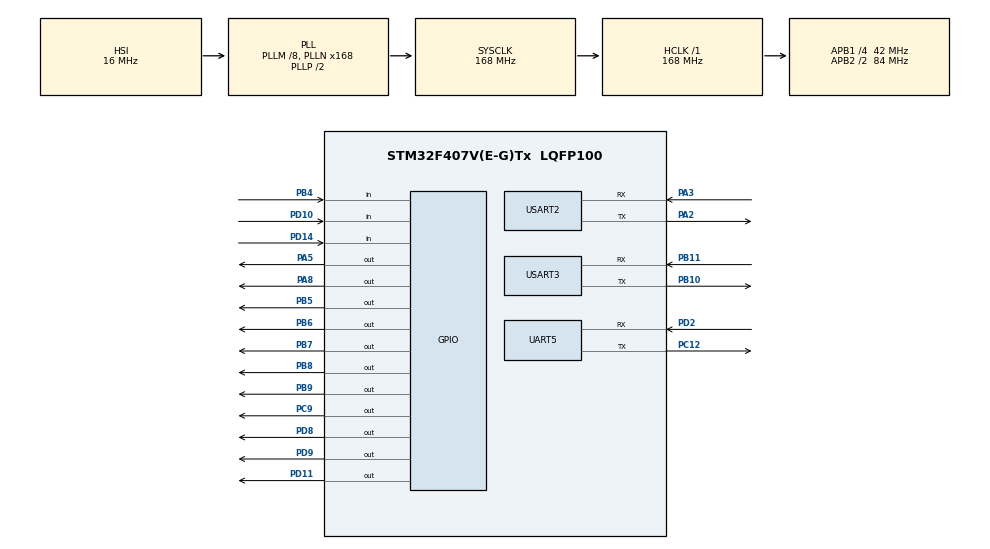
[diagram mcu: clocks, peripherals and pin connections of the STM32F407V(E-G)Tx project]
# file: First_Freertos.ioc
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FREERTOS.Tasks01=defaultTask,24,128,StartDefaultTask,Default,NULL,Dynamic,NULL,NULL
FREERTOS.configENABLE_FPU=1
Mcu.Family=STM32F4
Mcu.Name=STM32F407V(E-G)Tx
Mcu.Package=LQFP100
NVIC.PriorityGroup=NVIC_PRIORITYGROUP_4
NVIC.TIM2_IRQn=true\:5\:0\:false\:false\:true\:true\:true\:true\:true
NVIC.TIM6_DAC_IRQn=true\:15\:0\:false\:false\:true\:false\:false\:true\:true
NVIC.TimeBase=TIM6_DAC_IRQn
NVIC.TimeBaseIP=TIM6
NVIC.UART5_IRQn=true\:5\:0\:false\:false\:true\:true\:true\:true\:true
NVIC.USART2_IRQn=true\:5\:0\:false\:false\:true\:true\:true\:true\:true
NVIC.USART3_IRQn=true\:5\:0\:false\:false\:true\:true\:true\:true\:true
PA13.Mode=Serial_Wire
PA13.Signal=SYS_JTMS-SWDIO
PA14.Mode=Serial_Wire
PA14.Signal=SYS_JTCK-SWCLK
PA2.Mode=Asynchronous
PA2.Signal=USART2_TX
PA3.Mode=Asynchronous
PA3.Signal=USART2_RX
PA5.Signal=GPIO_Output
PA8.Signal=GPIO_Output
PB10.Mode=Asynchronous
PB10.Signal=USART3_TX
PB11.Mode=Asynchronous
PB11.Signal=USART3_RX
PB4.Signal=GPIO_Input
PB5.Signal=GPIO_Output
PB6.Signal=GPIO_Output
PB7.Signal=GPIO_Output
PB8.GPIO_ModeDefaultOutputPP=GPIO_MODE_OUTPUT_OD
PB8.GPIO_PuPd=GPIO_NOPULL
PB8.Signal=GPIO_Output
PB9.Signal=GPIO_Output
PC12.Mode=Asynchronous
PC12.Signal=UART5_TX
PC14-OSC32_IN.Mode=LSE-External-Oscillator
PC14-OSC32_IN.Signal=RCC_OSC32_IN
PC15-OSC32_OUT.Mode=LSE-External-Oscillator
PC15-OSC32_OUT.Signal=RCC_OSC32_OUT
PC9.Signal=GPIO_Output
PD10.Signal=GPIO_Input
PD11.Signal=GPIO_Output
PD14.Signal=GPIO_Input
PD2.Mode=Asynchronous
PD2.Signal=UART5_RX
PD8.Signal=GPIO_Output
PD9.Signal=GPIO_Output
PH0-OSC_IN.Mode=HSE-External-Oscillator
PH0-OSC_IN.Signal=RCC_OSC_IN
PH1-OSC_OUT.Mode=HSE-External-Oscillator
PH1-OSC_OUT.Signal=RCC_OSC_OUT
ProjectManager.HeapSize=0x000
ProjectManager.StackSize=0x800
ProjectManager.TargetToolchain=MDK-ARM V5.32
RCC.48MHZClocksFreq_Value=84000000
RCC.AHBFreq_Value=168000000
RCC.APB1CLKDivider=RCC_HCLK_DIV4
RCC.APB1Freq_Value=42000000
RCC.APB1TimFreq_Value=84000000
RCC.APB2CLKDivider=RCC_HCLK_DIV2
RCC.APB2Freq_Value=84000000
RCC.APB2TimFreq_Value=168000000
RCC.CortexFreq_Value=168000000
RCC.HCLKFreq_Value=168000000
RCC.HSE_VALUE=25000000
RCC.HSI_VALUE=16000000
RCC.PLLM=8
RCC.PLLN=168
RCC.SYSCLKFreq_VALUE=168000000
RCC.SYSCLKSource=RCC_SYSCLKSOURCE_PLLCLK
RCC.VCOOutputFreq_Value=336000000
TIM2.Period=1000
TIM2.Prescaler=83
UART5.VirtualMode=Asynchronous
USART2.VirtualMode=VM_ASYNC
USART3.VirtualMode=VM_ASYNC
VP_FREERTOS_VS_CMSIS_V2.Mode=CMSIS_V2
VP_SYS_VS_tim6.Mode=TIM6
VP_TIM2_VS_ClockSourceINT.Mode=Internal
board=custom

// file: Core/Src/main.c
/* USER CODE BEGIN Header */
/**
  ******************************************************************************
  * @file           : main.c
  * @brief          : Main program body
  ******************************************************************************
  * @attention
  *
  * Copyright (c) 2026 STMicroelectronics.
  * All rights reserved.
  *
  * This software is licensed under terms that can be found in the LICENSE file
  * in the root directory of this software component.
  * If no LICENSE file comes with this software, it is provided AS-IS.
  *
  ******************************************************************************
  */
/* USER CODE END Header */
#include "main.h"
#include "cmsis_os.h"
#include "tim.h"
#include "usart.h"
#include "gpio.h"

/* USER CODE BEGIN Includes */
#include "stdio.h"
#include "esp8266.h"
#include "onenet.h"
#include <stdlib.h>
#include "OLED.h"
#include "MY_IIC.h"
#include "BMP280.h"
#include "ath20.h"
#include "math.h"
#include "draw.h"
#include "resources.h"
#include "queue.h"
/* USER CODE END Includes */

/* USER CODE BEGIN PTD */
unsigned int count=0;
/* USER CODE END PTD */

void SystemClock_Config(void);
void MX_FREERTOS_Init(void);
/* USER CODE BEGIN PFP */

unsigned int	Error_Count=0;
unsigned char p3Data,p5Data,p2Data;
unsigned int miao;
extern const char devPubTopic[] ;
extern const char *devSubTopic[];
extern unsigned char *dataPtr;
extern QueueHandle_t miao_Duilie;
extern QueueHandle_t ESP8266_Duilie;
extern QueueHandle_t xGyroQueue;
/* USER CODE END PFP */

/* USER CODE BEGIN 0 */

volatile uint8_t ret = 0;
/* USER CODE END 0 */

int main(void)
{

  /* MCU Configuration--------------------------------------------------------*/

  /* Reset of all peripherals, Initializes the Flash interface and the Systick. */
  HAL_Init();

  /* Configure the system clock */
  SystemClock_Config();

  /* Initialize all configured peripherals */
  MX_GPIO_Init();
  MX_TIM2_Init();
  MX_USART3_UART_Init();
  MX_UART5_Init();
  MX_USART2_UART_Init();
  /* USER CODE BEGIN 2 */
	OLED_Init();
	xGyroQueue = xQueueCreate(2, sizeof(GyroRawData_t));
	miao_Duilie=xQueueCreate(1, sizeof(struct miao_Duilie_Struct)); //创建队列
	ESP8266_Duilie=xQueueCreate(1, sizeof(struct Chuan_Struct)); //创建队列

	HAL_TIM_Base_Start_IT(&htim2);
	HAL_UART_Receive_IT(&huart3, &p3Data, 1);
	HAL_UART_Receive_IT(&huart5, &p5Data, 1);
	HAL_UART_Receive_IT(&huart2, &p2Data, 1);

  /* USER CODE END 2 */

  /* Init scheduler */
  osKernelInitialize();

  /* Call init function for freertos objects (in cmsis_os2.c) */
  MX_FREERTOS_Init();

  /* Start scheduler */
  osKernelStart();

  /* We should never get here as control is now taken by the scheduler */

  /* Infinite loop */
  while (1)
  {

  }
}

void SystemClock_Config(void)
{
  RCC_OscInitTypeDef RCC_OscInitStruct = {0};
  RCC_ClkInitTypeDef RCC_ClkInitStruct = {0};

  /** Configure the main internal regulator output voltage
  */
  __HAL_RCC_PWR_CLK_ENABLE();
  __HAL_PWR_VOLTAGESCALING_CONFIG(PWR_REGULATOR_VOLTAGE_SCALE1);

  /** Initializes the RCC Oscillators according to the specified parameters
  * in the RCC_OscInitTypeDef structure.
  */
  RCC_OscInitStruct.OscillatorType = RCC_OSCILLATORTYPE_HSI;
  RCC_OscInitStruct.HSIState = RCC_HSI_ON;
  RCC_OscInitStruct.HSICalibrationValue = RCC_HSICALIBRATION_DEFAULT;
  RCC_OscInitStruct.PLL.PLLState = RCC_PLL_ON;
  RCC_OscInitStruct.PLL.PLLSource = RCC_PLLSOURCE_HSI;
  RCC_OscInitStruct.PLL.PLLM = 8;
  RCC_OscInitStruct.PLL.PLLN = 168;
  RCC_OscInitStruct.PLL.PLLP = RCC_PLLP_DIV2;
  RCC_OscInitStruct.PLL.PLLQ = 4;
  if (HAL_RCC_OscConfig(&RCC_OscInitStruct) != HAL_OK)
  {
    Error_Handler();
  }

  /** Initializes the CPU, AHB and APB buses clocks
  */
  RCC_ClkInitStruct.ClockType = RCC_CLOCKTYPE_HCLK|RCC_CLOCKTYPE_SYSCLK
                              |RCC_CLOCKTYPE_PCLK1|RCC_CLOCKTYPE_PCLK2;
  RCC_ClkInitStruct.SYSCLKSource = RCC_SYSCLKSOURCE_PLLCLK;
  RCC_ClkInitStruct.AHBCLKDivider = RCC_SYSCLK_DIV1;
  RCC_ClkInitStruct.APB1CLKDivider = RCC_HCLK_DIV4;
  RCC_ClkInitStruct.APB2CLKDivider = RCC_HCLK_DIV2;

  if (HAL_RCC_ClockConfig(&RCC_ClkInitStruct, FLASH_LATENCY_5) != HAL_OK)
  {
    Error_Handler();
  }
}

void HAL_TIM_PeriodElapsedCallback(TIM_HandleTypeDef *htim)
{
  if (htim->Instance == TIM6)
  {
    HAL_IncTick();
  }
  /* USER CODE BEGIN Callback 1 */
  if (htim == (&htim2))  //1KHZ
  {
		struct miao_Duilie_Struct miaostru;

		count++;
		if(count%1000==0){
		miao++;
		miaostru.num=	miao;
			xQueueSendFromISR(miao_Duilie,&miaostru,0); //写队列 miao_Duilie是唯一标识符 中断中不等待
		}

	}
  /* USER CODE END Callback 1 */
}

void Error_Handler(void)
{
  __disable_irq();
  while (1)
  {
  }
}

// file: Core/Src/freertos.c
/* USER CODE BEGIN Header */
/**
  ******************************************************************************
  * File Name          : freertos.c
  * Description        : Code for freertos applications
  ******************************************************************************
  * @attention
  *
  * Copyright (c) 2026 STMicroelectronics.
  * All rights reserved.
  *
  * This software is licensed under terms that can be found in the LICENSE file
  * in the root directory of this software component.
  * If no LICENSE file comes with this software, it is provided AS-IS.
  *
  ******************************************************************************
  */
/* USER CODE END Header */

#include "FreeRTOS.h"
#include "task.h"
#include "main.h"
#include "cmsis_os.h"

/* USER CODE BEGIN Includes */
#include "stdio.h"
#include "esp8266.h"
#include "onenet.h"
#include <stdlib.h>
#include "OLED.h"
#include "MY_IIC.h"
#include "BMP280.h"
#include "ath20.h"
#include "math.h"
#include "draw.h"
#include "game1.h"
#include "resources.h"
#include "queue.h"
#include "string.h"
#include "NRF24L01.h"
/* USER CODE END Includes */

/* USER CODE BEGIN PTD */

float PT, T, ALT;
uint32_t CT_data[2];
int c1, t1;
uint8_t status = 0;
/* USER CODE END PTD */

/* USER CODE BEGIN PD */
const char devPubTopic[] = "$sys/nE4HArK3N3/Pena/thing/property/post";
const char *devSubTopic[] = {"$sys/nE4HArK3N3/Pena/thing/property/set"};
unsigned char *dataPtr = NULL;
char PUBLIS_BUF[256];
extern unsigned int miao,count;
TaskHandle_t  OLED_Task_Handle;
unsigned int OLED_RUN_Flag=1;

extern unsigned int WiFi_Success_Flag;
float PT, T, ALT;
uint32_t CT_data[2];
int c1, t1;

unsigned int ADzhi11,My_ADzhi11,Last_ADzhi11;
unsigned int ADzhi12,My_ADzhi12,Last_ADzhi12;
unsigned int ADzhi21,My_ADzhi21,Last_ADzhi21;
unsigned int ADzhi22,My_ADzhi22,Last_ADzhi22;
unsigned char anjianzhi[6];
unsigned int NRF24L01_Send_Error[5];

extern uint8_t uptMove;
//extern uint8_t again;

volatile float Roll = 0.0f, Pitch = 0.0f, Yaw = 0.0f;
volatile float First_Yaw = 0.0f, Last_Yaw = 0.0f, Yaw_offset = 0.0f, My_Yaw = 0.0f;
volatile int Quan_Shu = 0;
volatile uint8_t First_Yaw_flag = 0;

QueueHandle_t miao_Duilie;
QueueHandle_t ESP8266_Duilie;
QueueHandle_t xGyroQueue;
/* USER CODE END PD */

/* Definitions for defaultTask */
osThreadId_t defaultTaskHandle;
const osThreadAttr_t defaultTask_attributes = {
  .name = "defaultTask",
  .stack_size = 128 * 4,
  .priority = (osPriority_t) osPriorityNormal,
};

/* USER CODE BEGIN FunctionPrototypes */
void JsonValue()
{
	struct Chuan_Struct Data_Struct;

//	uint8_t Temp = c1;
//	uint8_t Hum_D = t1/10;
//	uint8_t Hum_X = t1%10;
//	float Hum=Hum_D+((float)Hum_X/10);
////	uint8_t Hum = t1/10;
//	float qiya=PT;
//	uint8_t shidu=c1/10;
	if(xQueueReceive(ESP8266_Duilie,&Data_Struct,pdMS_TO_TICKS(1))==pdPASS){

	uint8_t Temp = Data_Struct.C1;
	uint8_t Hum_D = Data_Struct.T1/10;
	uint8_t Hum_X = Data_Struct.T1%10;
	float Hum=Hum_D+((float)Hum_X/10);
		if(Hum<=40&&Hum>=0){
//	uint8_t Hum = t1/10;
	float qiya=Data_Struct.PT1;
	uint8_t shidu=Data_Struct.C1/10;
	memset(PUBLIS_BUF, 0, sizeof(PUBLIS_BUF));

	sprintf(PUBLIS_BUF,"{\"id\":\"123\",\"params\":{\"temp_float\":{\"value\":%.1f},\"Qiya\":{\"value\":%.1f},\"ShiDu\":{\"value\":%d}}}",
					Hum,qiya,shidu);
		}
	}
}
char anjianhq(){
	char anjianzhi=0;
	if(HAL_GPIO_ReadPin(GPIOD,GPIO_PIN_10)==0){
	anjianzhi=1;
	}
	if(HAL_GPIO_ReadPin(GPIOD,GPIO_PIN_14)==0){
	anjianzhi=2;
	}
	return anjianzhi;
}
void LED_2Task(){
  while(1){
		OLED_ShowNum(3,1,count%10,2);
//		vTaskDelay(pdMS_TO_TICKS(500));	 // �ȴ�100ms
  }
}
void ESP8266_Task(){

	static unsigned int TimeCount,Error_Count;
	 static uint32_t tick_count = 0;
  static uint32_t last_send_tick = 0; // 记录上次发送的时间点
//	ESP8266_Duilie=xQueueCreate(1, sizeof(struct Chuan_Struct)); //创建队列
		ESP8266_Init();
	if(WiFi_Success_Flag==1){
			while(OneNet_DevLink())//连接Onenet平台,如果失败等待200ms继续尝试。
		{
			HAL_Delay(200);
			Error_Count++;
			if(Error_Count>=5){
				printf("连接失败\r\n");
				break;
//			return 0;
			}
		}
	}
	else{
				printf("连接失败\r\n");
	}
			/*订阅主题*/
	OneNet_Subscribe(devSubTopic,1);
//	OLED_ShowString(3,1,"ESP8266_OK");
  while(1){

				HAL_GPIO_TogglePin(GPIOD,GPIO_PIN_11);
        dataPtr = ESP8266_GetIPD_RTOS(1);
        if(dataPtr != NULL)
        {
            OneNet_RevPro(dataPtr); // 处理数据
            ESP8266_Clear();        // 处理完立刻清空
        }
        if((xTaskGetTickCount() - last_send_tick) >= pdMS_TO_TICKS(500))
        {
            last_send_tick = xTaskGetTickCount(); // 更新时间戳4

//						JH_Read_CTdata(CT_data);         //较慢
//						c1 = CT_data[0] * 1000 / 1024 / 1024;
//						t1 = CT_data[1] * 200 * 10 / 1024 / 1024 - 500;
//						BMP280GetData(&PT, &T, &ALT);

            JsonValue();
            OneNet_Publish(devPubTopic, PUBLIS_BUF);
        }
					vTaskDelay(pdMS_TO_TICKS(5));	 //
  }
}

struct OLED_Show_Param OLED_Test1={1,1,0};
struct OLED_Show_Param OLED_Test2={2,1,0};
struct OLED_Show_Param OLED_Test3={3,1,0};
unsigned int Bao_Hu=1;
void OLED_Task(void *param){
	struct OLED_Show_Param *info=param;
	struct miao_Duilie_Struct miao_Struct; //存数据的结构体

	BaseType_t preTime;
	preTime=xTaskGetTickCount();

//  miao_Duilie=xQueueCreate(1, sizeof(struct miao_Duilie_Struct)); //创建队列

	while(1){
		if(Bao_Hu==1){
		Bao_Hu=0;
		OLED_ShowNum(info->hang,info->lie,info->num,5);
		(info->num)++;
		Bao_Hu=1;
		}
		if(xQueueReceive(miao_Duilie,&miao_Struct,portMAX_DELAY)==pdPASS){ //判断是否接收到数据
		OLED_ShowNum(4,1,miao_Struct.num,4); //引用队列，用miao_Struct接收 miao_Duilie属于标识符
		}
		vTaskDelayUntil(&preTime,pdMS_TO_TICKS(1000));
//		vTaskDelay(pdMS_TO_TICKS(1000));
	}
}
unsigned int A=0;
static unsigned char val,down,old;
void anjian_Task(){

	while(1){
	val=anjianhq();
	down=val&(val^old);
	old=val;
	if(down==1){
	A++;
		uptMove=2;
	}
	if(down==2){
		uptMove=1;
	A--;
	}
	vTaskDelay(pdMS_TO_TICKS(10));
	}
}

void IIC_Task(){
	static uint8_t ret;
	struct Chuan_Struct idata;

	  I2C_Bus_Init();
  ret = BMP280_Init();
  if (ret != 0x58)
  {
    while (1)
      ;
  }
  ret = JH_Init(); //
  if (ret == 0)
  {
    while (1)
      ;
  }
	while(1){
		JH_Read_CTdata(CT_data);         //较慢
		c1 = CT_data[0] * 1000 / 1024 / 1024;
		t1 = CT_data[1] * 200 * 10 / 1024 / 1024 - 500;
		BMP280GetData(&PT, &T, &ALT);

		idata.C1=c1;
		idata.PT1=PT;
		idata.T1=t1;
		xQueueOverwrite(ESP8266_Duilie,&idata); // 无需等待，直接覆盖旧数据
	//	xQueueSend(ESP8266_Duilie,&idata,20); //有延迟 等待读取后再写
		vTaskDelay(pdMS_TO_TICKS(5));
	}
}
void NRF_Task(){
	 NRF24L01_Init();
	static unsigned int count=0;
	while(1){
		if(++count==50){
			count=0;
      NRF24L01_TxPacket[0] = t1;
      NRF24L01_TxPacket[1]++;
      NRF24L01_TxPacket[2]++;
      NRF24L01_TxPacket[3]++;
//			NRF24L01_Send();
			switch(NRF24L01_Send()){
				case 0:
					NRF24L01_Send_Error[0]++;
				break;
				case 1:
					NRF24L01_Send_Error[1]++;
				break;
				case 2:
					NRF24L01_Send_Error[2]++;
				break;
				case 3:
					NRF24L01_Send_Error[3]++;
				break;
				case 4:
					NRF24L01_Send_Error[4]++;
				break;
			}
		}
		    if (NRF24L01_Receive() == 1)
    {
			if((NRF24L01_RxPacket[0] * 256 + NRF24L01_RxPacket[1])>0&&(NRF24L01_RxPacket[0] * 256 + NRF24L01_RxPacket[1])<=5000&&(NRF24L01_RxPacket[0] * 256 + NRF24L01_RxPacket[1])!=2056){

			ADzhi11 = NRF24L01_RxPacket[0] * 256 + NRF24L01_RxPacket[1];
			}
			if((NRF24L01_RxPacket[2] * 256 + NRF24L01_RxPacket[3])>0&&(NRF24L01_RxPacket[2] * 256 + NRF24L01_RxPacket[3])<=5000&&(NRF24L01_RxPacket[2] * 256 + NRF24L01_RxPacket[3])!=2056){
			ADzhi12 = NRF24L01_RxPacket[2] * 256 + NRF24L01_RxPacket[3];
			}
			if((NRF24L01_RxPacket[4] * 256 + NRF24L01_RxPacket[5])>0&&(NRF24L01_RxPacket[4] * 256 + NRF24L01_RxPacket[5])<=5000&&(NRF24L01_RxPacket[4] * 256 + NRF24L01_RxPacket[5])!=2056){
			ADzhi22 = NRF24L01_RxPacket[4] * 256 + NRF24L01_RxPacket[5];
			}
			if((NRF24L01_RxPacket[6] * 256 + NRF24L01_RxPacket[7])>0&&(NRF24L01_RxPacket[6] * 256 + NRF24L01_RxPacket[7])<=5000&&(NRF24L01_RxPacket[6] * 256 + NRF24L01_RxPacket[7])!=2056){
			ADzhi21 = NRF24L01_RxPacket[6] * 256 + NRF24L01_RxPacket[7];
			}
			My_ADzhi12=0.4*ADzhi12+0.6*Last_ADzhi12;
			Last_ADzhi12=My_ADzhi12;

			My_ADzhi21=0.4*ADzhi21+0.6*Last_ADzhi21;
			Last_ADzhi21=My_ADzhi21;

      anjianzhi[0] = (NRF24L01_RxPacket[8] >> 6) & 0x01;
      anjianzhi[1] = (NRF24L01_RxPacket[8] >> 5) & 0x01;
      anjianzhi[2] = (NRF24L01_RxPacket[8] >> 4) & 0x01;
      anjianzhi[3] = (NRF24L01_RxPacket[8] >> 3) & 0x01;
			if(anjianzhi[0]==1){
//			again=1;
			}
			if(anjianzhi[2]==1){
			uptMove=2;
			}
			else if(anjianzhi[3]==1){
			uptMove=1;
			}
      anjianzhi[4] = (NRF24L01_RxPacket[8] >> 1) & 0x03;
      anjianzhi[5] = (NRF24L01_RxPacket[8]) & 0x01;
    }
		vTaskDelay(pdMS_TO_TICKS(10));
	}
}
void TuoLuoYi_Task(){
	GyroRawData_t recv_data;  // 任务内缓存，接收队列数据
//	xGyroQueue = xQueueCreate(2, sizeof(GyroRawData_t));
    for (;;) {
        // -------------------------- 核心：任务中接收队列数据 --------------------------
        // xQueueReceive：阻塞式接收，队列无数据时任务休眠，不占用CPU
        // 第三个参数：阻塞超时时间（pdMS_TO_TICKS(100) = 100ms）
        if (xQueueReceive(xGyroQueue, &recv_data, pdMS_TO_TICKS(100)) == pdPASS) {

            // 你的原有姿态角计算逻辑（改用任务内的recv_data，无并发风险）
            Roll = (float)((int16_t)recv_data.data[1] << 8 | recv_data.data[0]) / 32768 * 180;
            Pitch = (float)((int16_t)recv_data.data[3] << 8 | recv_data.data[2]) / 32768 * 180;

            // Yaw范围校验
            float temp_yaw = (float)((int16_t)recv_data.data[5] << 8 | recv_data.data[4]) / 32768 * 180;
            if (temp_yaw >= 0 && temp_yaw <= 360) {
                Yaw = temp_yaw;
            }

            // 累计Yaw计算
            if (First_Yaw_flag == 0) {
                First_Yaw = Yaw;
                First_Yaw_flag = 1;
            }
            float Delta_Yaw = Yaw - Last_Yaw;
            if (Delta_Yaw > 180.0f) {
                Yaw_offset -= 360.0f;
                Quan_Shu--;
            } else if (Delta_Yaw < -180.0f) {
                Yaw_offset += 360.0f;
                Quan_Shu++;
            }
            My_Yaw = Yaw + Yaw_offset;
            Last_Yaw = Yaw;

            // 调试输出（按需保留）
            // printf("%f,%f,%f\r\n", My_Yaw, Roll, Pitch);
        }
        // 任务让出CPU（短延时，避免任务空转）
        vTaskDelay(pdMS_TO_TICKS(10));
    }
}

void vApplicationStackOverflowHook(TaskHandle_t xTask, char *pcTaskName) //狗子函数
{
//    OLED_Clear();
    // 判断任务名，显示不同数字
    if(strcmp(pcTaskName, "ESP8266_Task") == 0){
				OLED_ShowString(2,5,"ESP8266_Error!!!");
//        OLED_ShowNum(2,1,55,2); // ESP8266_Task溢出显示55
    }else if(strcmp(pcTaskName, "IIC_Task") == 0){
			OLED_ShowString(2,5,"IIC_Error!!!");
//        OLED_ShowNum(2,1,66,2); // IIC_Task溢出显示66
    }else if(strcmp(pcTaskName, "LED_1Task") == 0){
			OLED_ShowString(2,5,"OLED_Error!!!");
//				OLED_ShowNum(2,1,77,2); // OLED_Task溢出显示77
		}else if(strcmp(pcTaskName, "anjian_Task") == 0){
			OLED_ShowString(2,5,"Button_Error!!!");
//				OLED_ShowNum(2,1,88,2); // anjian_Task溢出显示
		}else{
			OLED_ShowString(2,5,"_Error!!!");
//        OLED_ShowNum(2,1,99,2); // 其他任务溢出显示99
    }
//    printf("【栈溢出】任务：%s\r\n", pcTaskName);
    for(;;); // 卡死系统，方便观察OLED提示
}
/* USER CODE END FunctionPrototypes */

void StartDefaultTask(void *argument);

void MX_FREERTOS_Init(void); /* (MISRA C 2004 rule 8.1) */

void MX_FREERTOS_Init(void) {

  /* Create the thread(s) */
  /* creation of defaultTask */
  defaultTaskHandle = osThreadNew(StartDefaultTask, NULL, &defaultTask_attributes);

  /* USER CODE BEGIN RTOS_THREADS */
  /* add threads, ... */
//  xTaskCreate(OLED_Task,"LED_1Task",256,&OLED_Test1,osPriorityNormal,&OLED_Task_Handle);
//	xTaskCreate(OLED_Task,"LED_2Task",128,&OLED_Test2,osPriorityNormal,NULL);
	xTaskCreate(ESP8266_Task,"ESP8266_Task",1024,NULL,osPriorityNormal,NULL);
	xTaskCreate(anjian_Task,"anjian_Task",128,NULL,osPriorityNormal,NULL);
	xTaskCreate(IIC_Task,"IIC_Task",512,NULL,osPriorityNormal,NULL);
	xTaskCreate(game1_task, "GameTask", 128, NULL, osPriorityNormal, NULL);
	xTaskCreate(NRF_Task,"NRF_Task",512,NULL,osPriorityNormal,NULL);
	xTaskCreate(TuoLuoYi_Task,"TuoLuoYi_Task",512,NULL,osPriorityNormal,NULL);
  /* USER CODE END RTOS_THREADS */

}

void StartDefaultTask(void *argument)
{
  /* USER CODE BEGIN StartDefaultTask */
  /* Infinite loop */
  for(;;)
  {
		HAL_GPIO_TogglePin(GPIOD,GPIO_PIN_9);

		vTaskDelay(pdMS_TO_TICKS(500));	 // �ȴ�100ms

//    osDelay(1);
  }
  /* USER CODE END StartDefaultTask */
}
